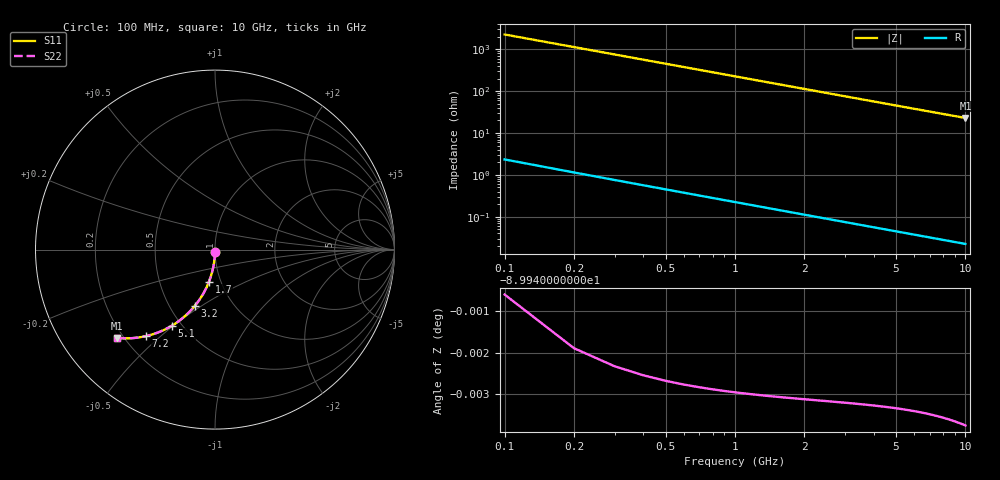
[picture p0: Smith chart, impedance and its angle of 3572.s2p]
# Hz S RI R 50.00
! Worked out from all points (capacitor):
!   100 points, 100 MHz to 10 GHz, reference 50 ohm
!   read as one part in shunt: C = 706 fF near 100 MHz
!   lowest |Z| = 22.9 ohm at 10 GHz (marker M1)
!   S11 on the Smith chart (normalised r, x): 100 MHz: 1.00, -0.02; 1.7 GHz: 0.88, -0.33; 3.2 GHz: 0.67, -0.47; 5.1 GHz: 0.44, -0.49; 7.2 GHz: 0.29, -0.45; 10 GHz: 0.17, -0.37
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1e8  -0.000123 -0.011  0.9999 -0.0111  0.9999 -0.0111  -0.000123 -0.011
2e8  -0.000502 -0.0221  0.9995 -0.0223  0.9995 -0.0223  -0.000502 -0.0221
3e8  -0.00113 -0.0331  0.9989 -0.0334  0.9989 -0.0334  -0.00113 -0.0331
4e8  -0.00199 -0.044  0.998 -0.0445  0.998 -0.0445  -0.00199 -0.044
5e8  -0.00311 -0.055  0.9969 -0.0555  0.9969 -0.0555  -0.00311 -0.055
6e8  -0.00446 -0.0659  0.9955 -0.0665  0.9955 -0.0665  -0.00446 -0.0659
8e8  -0.00787 -0.0875  0.9921 -0.0884  0.9921 -0.0884  -0.00787 -0.0875
9e8  -0.00993 -0.0982  0.99 -0.0992  0.99 -0.0992  -0.00993 -0.0982
1.1e9  -0.0147 -0.1195  0.9852 -0.1207  0.9852 -0.1207  -0.0147 -0.1195
1.4e9  -0.0236 -0.1506  0.9764 -0.1522  0.9764 -0.1522  -0.0236 -0.1506
1.7e9  -0.0344 -0.1808  0.9656 -0.1827  0.9656 -0.1827  -0.0344 -0.1808
1.8e9  -0.0384 -0.1906  0.9616 -0.1926  0.9616 -0.1926  -0.0384 -0.1906
2.4e9  -0.0661 -0.2466  0.9339 -0.2493  0.9339 -0.2493  -0.0661 -0.2466
2.8e9  -0.0877 -0.2809  0.9122 -0.284  0.9122 -0.284  -0.0877 -0.2809
3.2e9  -0.1115 -0.3125  0.8885 -0.316  0.8885 -0.316  -0.1115 -0.3125
3.4e9  -0.124 -0.3272  0.876 -0.331  0.876 -0.331  -0.124 -0.3272
4.2e9  -0.1773 -0.3791  0.8227 -0.3838  0.8227 -0.3838  -0.1773 -0.3791
5.1e9  -0.2407 -0.4242  0.7593 -0.4299  0.7593 -0.4299  -0.2407 -0.4242
6.7e9  -0.3528 -0.4736  0.6472 -0.4811  0.6472 -0.4811  -0.3528 -0.4736
7.2e9  -0.3861 -0.4823  0.6139 -0.4904  0.6139 -0.4904  -0.3861 -0.4823
8.4e9  -0.4607 -0.4932  0.5393 -0.5027  0.5393 -0.5027  -0.4607 -0.4932
1e10  -0.547 -0.4916  0.4529 -0.503  0.4529 -0.503  -0.547 -0.4916
